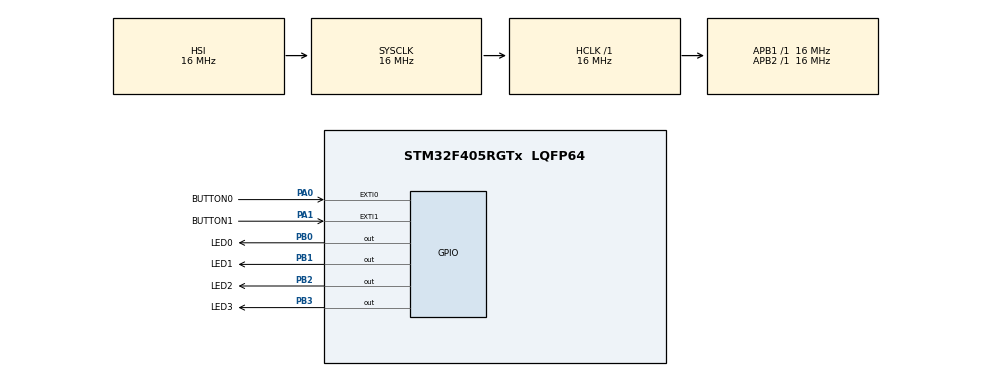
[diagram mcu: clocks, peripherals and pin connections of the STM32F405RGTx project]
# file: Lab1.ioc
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FREERTOS.Tasks01=defaultTask,0,128,StartDefaultTask,Default,NULL,Dynamic,NULL,NULL
Mcu.Family=STM32F4
Mcu.Name=STM32F405RGTx
Mcu.Package=LQFP64
NVIC.EXTI0_IRQn=true\:5\:0\:false\:false\:true\:true\:true\:true\:true
NVIC.EXTI1_IRQn=true\:5\:0\:false\:false\:true\:true\:true\:true\:true
NVIC.PriorityGroup=NVIC_PRIORITYGROUP_4
NVIC.TIM1_UP_TIM10_IRQn=true\:15\:0\:false\:false\:true\:false\:false\:true\:true
NVIC.TIM2_IRQn=true\:5\:0\:false\:false\:true\:true\:true\:true\:true
NVIC.TimeBase=TIM1_UP_TIM10_IRQn
NVIC.TimeBaseIP=TIM1
PA0-WKUP.GPIO_Label=BUTTON0
PA0-WKUP.GPIO_ModeDefaultEXTI=GPIO_MODE_IT_FALLING
PA0-WKUP.GPIO_PuPd=GPIO_PULLUP
PA0-WKUP.Signal=GPXTI0
PA1.GPIO_Label=BUTTON1
PA1.GPIO_ModeDefaultEXTI=GPIO_MODE_IT_FALLING
PA1.GPIO_PuPd=GPIO_PULLUP
PA1.Signal=GPXTI1
PA13.Mode=Serial_Wire
PA13.Signal=SYS_JTMS-SWDIO
PA14.Mode=Serial_Wire
PA14.Signal=SYS_JTCK-SWCLK
PB0.GPIO_Label=LED0
PB0.Signal=GPIO_Output
PB1.GPIO_Label=LED1
PB1.Signal=GPIO_Output
PB2.GPIO_Label=LED2
PB2.Signal=GPIO_Output
PB3.GPIO_Label=LED3
PB3.Signal=GPIO_Output
ProjectManager.HeapSize=0x200
ProjectManager.StackSize=0x400
ProjectManager.TargetToolchain=STM32CubeIDE
RCC.AHBFreq_Value=16000000
RCC.APB1Freq_Value=16000000
RCC.APB1TimFreq_Value=16000000
RCC.APB2Freq_Value=16000000
RCC.APB2TimFreq_Value=16000000
RCC.CortexFreq_Value=16000000
RCC.HCLKFreq_Value=16000000
RCC.HSE_VALUE=25000000
RCC.HSI_VALUE=16000000
RCC.LSE_VALUE=32768
RCC.SYSCLKFreq_VALUE=16000000
RCC.VCOOutputFreq_Value=192000000
TIM2.AutoReloadPreload=TIM_AUTORELOAD_PRELOAD_ENABLE
TIM2.Period=99
TIM2.Prescaler=16
VP_FREERTOS_VS_CMSIS_V1.Mode=CMSIS_V1
VP_SYS_VS_tim1.Mode=TIM1
VP_TIM2_VS_ClockSourceINT.Mode=Internal
board=custom

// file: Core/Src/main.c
/* USER CODE BEGIN Header */
/**
  ******************************************************************************
  * @file           : main.c
  * @brief          : Main program body
  ******************************************************************************
  * @attention
  *
  * Copyright (c) 2022 STMicroelectronics.
  * All rights reserved.
  *
  * This software is licensed under terms that can be found in the LICENSE file
  * in the root directory of this software component.
  * If no LICENSE file comes with this software, it is provided AS-IS.
  *
  ******************************************************************************
  */
/* USER CODE END Header */
#include "main.h"
#include "cmsis_os.h"

/* USER CODE BEGIN Includes */
	uint8_t status;
	uint8_t Times = 0;

	uint8_t MaxTimes = 1;
	uint8_t Time_Flag = 0;
	uint8_t EffectNum = 1;
/* USER CODE END Includes */

/* USER CODE BEGIN PTD */
void HAL_GPIO_EXTI_Callback(uint16_t GPIO_Pin)
{
  /* Prevent unused argument(s) compilation warning */
  UNUSED(GPIO_Pin);
  if(GPIO_Pin == BUTTON0_Pin)
  {
	  EffectNum = 1;
  }
  else if(GPIO_Pin == BUTTON1_Pin)
  {
	  EffectNum = 2;
  }
  /* NOTE: This function Should not be modified, when the callback is needed,
		   the HAL_GPIO_EXTI_Callback could be implemented in the user file
   */
}
/* USER CODE END PTD */

TIM_HandleTypeDef htim2;

osThreadId defaultTaskHandle;

void SystemClock_Config(void);
static void MX_GPIO_Init(void);
static void MX_TIM2_Init(void);
void StartDefaultTask(void const * argument);

/* USER CODE BEGIN 0 */
void CustomDelay(int t)
{
	for(int i = 0; i < t; i++)
	{
		HAL_Delay(100);
	}
}
/* USER CODE END 0 */

int main(void)
{

  /* MCU Configuration--------------------------------------------------------*/

  /* Reset of all peripherals, Initializes the Flash interface and the Systick. */
  HAL_Init();

  /* Configure the system clock */
  SystemClock_Config();

  /* Initialize all configured peripherals */
  MX_GPIO_Init();
  MX_TIM2_Init();

  /* Create the thread(s) */
  /* definition and creation of defaultTask */
  osThreadDef(defaultTask, StartDefaultTask, osPriorityNormal, 0, 128);
  defaultTaskHandle = osThreadCreate(osThread(defaultTask), NULL);

  /* Start scheduler */
  osKernelStart();

  /* We should never get here as control is now taken by the scheduler */
  /* Infinite loop */
  while (1)
  {

    /* USER CODE BEGIN 3 */
//	  HAL_GPIO_TogglePin(LED0_GPIO_Port, LED0_Pin);
//	  CustomDelay(t);
//	  if(HAL_GPIO_ReadPin(BUTTON0_GPIO_Port, BUTTON0_Pin) == 0)
//	  {
//		  while(HAL_GPIO_ReadPin(BUTTON0_GPIO_Port, BUTTON0_Pin) == 0){};
//		  if(t > 1)
//		  {
//			  t/2;
//		  }
//	  }
//	  if(HAL_GPIO_ReadPin(BUTTON1_GPIO_Port, BUTTON1_Pin) == 0)
//	  {
//		  while(HAL_GPIO_ReadPin(BUTTON1_GPIO_Port, BUTTON1_Pin) == 0){};
//		  if(t < 50)
//		  {
//			  t*2;
//		  }
//	  }
  }
  /* USER CODE END 3 */
}

void SystemClock_Config(void)
{
  RCC_OscInitTypeDef RCC_OscInitStruct = {0};
  RCC_ClkInitTypeDef RCC_ClkInitStruct = {0};

  /** Configure the main internal regulator output voltage
  */
  __HAL_RCC_PWR_CLK_ENABLE();
  __HAL_PWR_VOLTAGESCALING_CONFIG(PWR_REGULATOR_VOLTAGE_SCALE1);

  /** Initializes the RCC Oscillators according to the specified parameters
  * in the RCC_OscInitTypeDef structure.
  */
  RCC_OscInitStruct.OscillatorType = RCC_OSCILLATORTYPE_HSI;
  RCC_OscInitStruct.HSIState = RCC_HSI_ON;
  RCC_OscInitStruct.HSICalibrationValue = RCC_HSICALIBRATION_DEFAULT;
  RCC_OscInitStruct.PLL.PLLState = RCC_PLL_NONE;
  if (HAL_RCC_OscConfig(&RCC_OscInitStruct) != HAL_OK)
  {
    Error_Handler();
  }

  /** Initializes the CPU, AHB and APB buses clocks
  */
  RCC_ClkInitStruct.ClockType = RCC_CLOCKTYPE_HCLK|RCC_CLOCKTYPE_SYSCLK
                              |RCC_CLOCKTYPE_PCLK1|RCC_CLOCKTYPE_PCLK2;
  RCC_ClkInitStruct.SYSCLKSource = RCC_SYSCLKSOURCE_HSI;
  RCC_ClkInitStruct.AHBCLKDivider = RCC_SYSCLK_DIV1;
  RCC_ClkInitStruct.APB1CLKDivider = RCC_HCLK_DIV1;
  RCC_ClkInitStruct.APB2CLKDivider = RCC_HCLK_DIV1;

  if (HAL_RCC_ClockConfig(&RCC_ClkInitStruct, FLASH_LATENCY_0) != HAL_OK)
  {
    Error_Handler();
  }
}

static void MX_TIM2_Init(void)
{

  TIM_ClockConfigTypeDef sClockSourceConfig = {0};
  TIM_MasterConfigTypeDef sMasterConfig = {0};

  htim2.Instance = TIM2;
  htim2.Init.Prescaler = 16;
  htim2.Init.CounterMode = TIM_COUNTERMODE_UP;
  htim2.Init.Period = 99;
  htim2.Init.ClockDivision = TIM_CLOCKDIVISION_DIV1;
  htim2.Init.AutoReloadPreload = TIM_AUTORELOAD_PRELOAD_ENABLE;
  if (HAL_TIM_Base_Init(&htim2) != HAL_OK)
  {
    Error_Handler();
  }
  sClockSourceConfig.ClockSource = TIM_CLOCKSOURCE_INTERNAL;
  if (HAL_TIM_ConfigClockSource(&htim2, &sClockSourceConfig) != HAL_OK)
  {
    Error_Handler();
  }
  sMasterConfig.MasterOutputTrigger = TIM_TRGO_RESET;
  sMasterConfig.MasterSlaveMode = TIM_MASTERSLAVEMODE_DISABLE;
  if (HAL_TIMEx_MasterConfigSynchronization(&htim2, &sMasterConfig) != HAL_OK)
  {
    Error_Handler();
  }

}

static void MX_GPIO_Init(void)
{
  GPIO_InitTypeDef GPIO_InitStruct = {0};

  /* GPIO Ports Clock Enable */
  __HAL_RCC_GPIOA_CLK_ENABLE();
  __HAL_RCC_GPIOB_CLK_ENABLE();

  /*Configure GPIO pin Output Level */
  HAL_GPIO_WritePin(GPIOB, LED0_Pin|LED1_Pin|LED2_Pin|LED3_Pin, GPIO_PIN_RESET);

  /*Configure GPIO pins : BUTTON0_Pin BUTTON1_Pin */
  GPIO_InitStruct.Pin = BUTTON0_Pin|BUTTON1_Pin;
  GPIO_InitStruct.Mode = GPIO_MODE_IT_FALLING;
  GPIO_InitStruct.Pull = GPIO_PULLUP;
  HAL_GPIO_Init(GPIOA, &GPIO_InitStruct);

  /*Configure GPIO pins : LED0_Pin LED1_Pin LED2_Pin LED3_Pin */
  GPIO_InitStruct.Pin = LED0_Pin|LED1_Pin|LED2_Pin|LED3_Pin;
  GPIO_InitStruct.Mode = GPIO_MODE_OUTPUT_PP;
  GPIO_InitStruct.Pull = GPIO_NOPULL;
  GPIO_InitStruct.Speed = GPIO_SPEED_FREQ_LOW;
  HAL_GPIO_Init(GPIOB, &GPIO_InitStruct);

  /* EXTI interrupt init*/
  HAL_NVIC_SetPriority(EXTI0_IRQn, 5, 0);
  HAL_NVIC_EnableIRQ(EXTI0_IRQn);

  HAL_NVIC_SetPriority(EXTI1_IRQn, 5, 0);
  HAL_NVIC_EnableIRQ(EXTI1_IRQn);

}

void StartDefaultTask(void const * argument)
{
  /* USER CODE BEGIN 5 */
  /* Infinite loop */
  for(;;)
  {
    if(EffectNum == 1)
    {
    	HAL_GPIO_WritePin(LED0_GPIO_Port, LED0_Pin, GPIO_PIN_SET);
		HAL_GPIO_WritePin(LED3_GPIO_Port, LED3_Pin, GPIO_PIN_SET);
		osThreadSuspend(defaultTaskHandle);
		HAL_GPIO_WritePin(LED0_GPIO_Port, LED0_Pin, GPIO_PIN_RESET);
		HAL_GPIO_WritePin(LED3_GPIO_Port, LED3_Pin, GPIO_PIN_RESET);
		osThreadSuspend(defaultTaskHandle);
		HAL_GPIO_WritePin(LED1_GPIO_Port, LED1_Pin, GPIO_PIN_SET);
		HAL_GPIO_WritePin(LED2_GPIO_Port, LED2_Pin, GPIO_PIN_SET);
		osThreadSuspend(defaultTaskHandle);
		HAL_GPIO_WritePin(LED1_GPIO_Port, LED1_Pin, GPIO_PIN_RESET);
		HAL_GPIO_WritePin(LED2_GPIO_Port, LED2_Pin, GPIO_PIN_RESET);
    }
    else
    {
    	HAL_GPIO_WritePin(LED0_GPIO_Port, LED0_Pin, GPIO_PIN_SET);
		osThreadSuspend(defaultTaskHandle);
		HAL_GPIO_WritePin(LED1_GPIO_Port, LED1_Pin, GPIO_PIN_SET);
		osThreadSuspend(defaultTaskHandle);
		HAL_GPIO_WritePin(LED2_GPIO_Port, LED2_Pin, GPIO_PIN_SET);
		osThreadSuspend(defaultTaskHandle);
		HAL_GPIO_WritePin(LED3_GPIO_Port, LED3_Pin, GPIO_PIN_SET);
		osThreadSuspend(defaultTaskHandle);
		HAL_GPIO_WritePin(LED0_GPIO_Port, LED0_Pin, GPIO_PIN_RESET);
		osThreadSuspend(defaultTaskHandle);
		HAL_GPIO_WritePin(LED1_GPIO_Port, LED1_Pin, GPIO_PIN_RESET);
		osThreadSuspend(defaultTaskHandle);
		HAL_GPIO_WritePin(LED2_GPIO_Port, LED2_Pin, GPIO_PIN_RESET);
		osThreadSuspend(defaultTaskHandle);
		HAL_GPIO_WritePin(LED3_GPIO_Port, LED3_Pin, GPIO_PIN_RESET);
		osThreadSuspend(defaultTaskHandle);
    }
  }
  /* USER CODE END 5 */
}

void HAL_TIM_PeriodElapsedCallback(TIM_HandleTypeDef *htim)
{
  if (htim->Instance == TIM1) {
    HAL_IncTick();
  }
  /* USER CODE BEGIN Callback 1 */
  if(Times < MaxTimes)
  {
	  Times++;
  }
  else
  {
	  Times = 0;
	  Time_Flag = 1;
  }
  /* USER CODE END Callback 1 */
}

void Error_Handler(void)
{
  __disable_irq();
  while (1)
  {
  }
}
